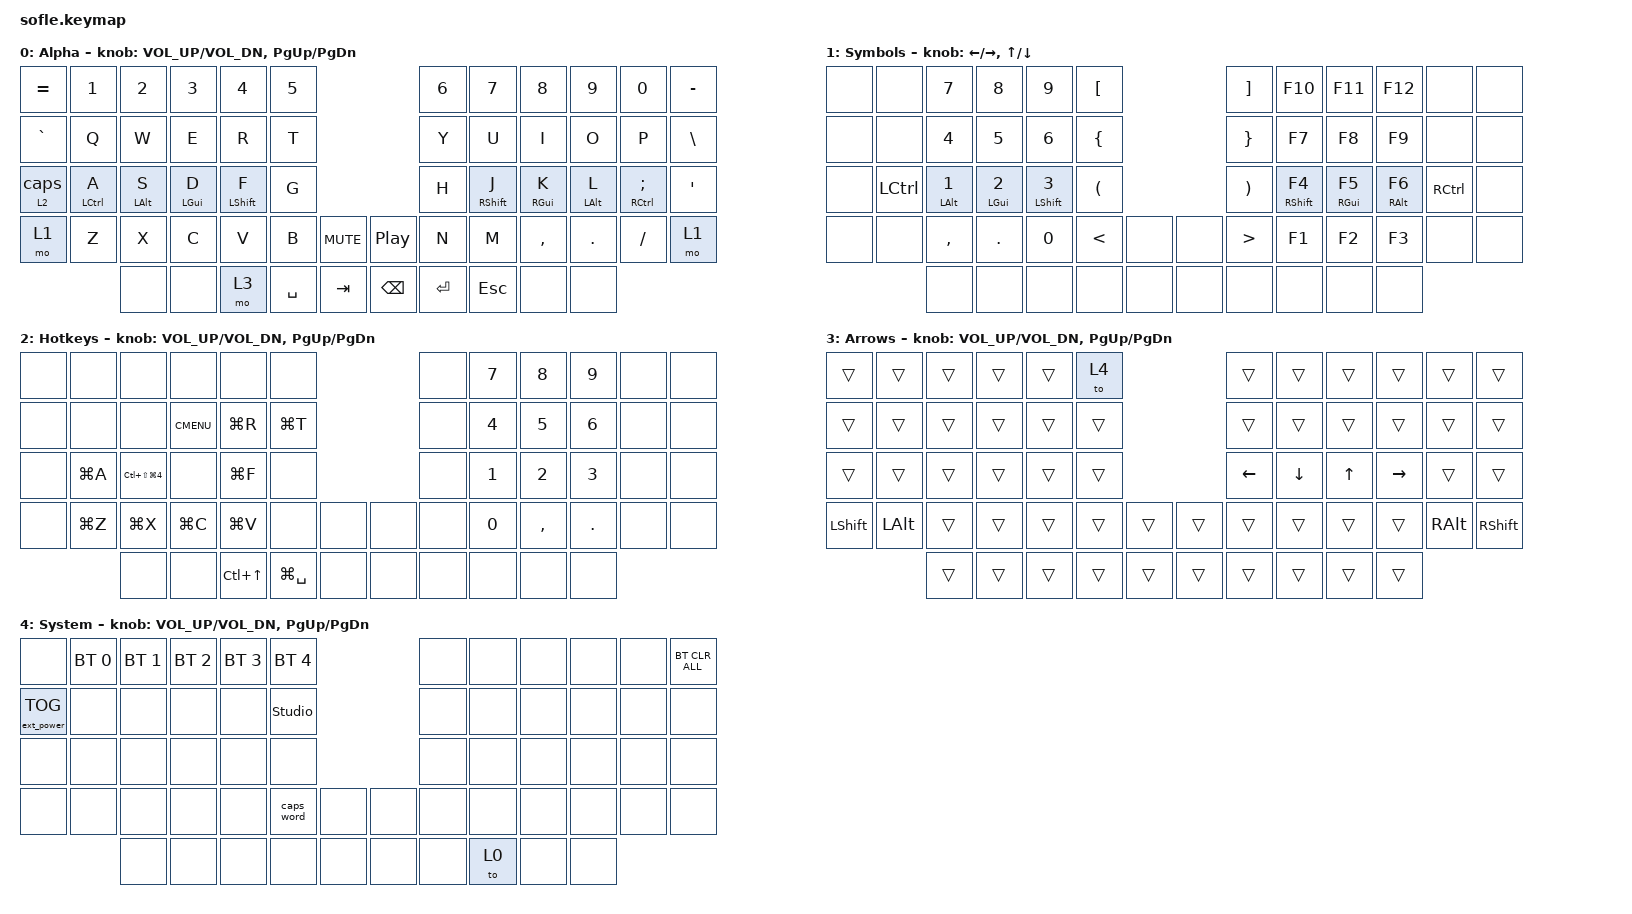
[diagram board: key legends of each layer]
/*
 * Copyright (c) 2020 The ZMK Contributors
 *
 * SPDX-License-Identifier: MIT
 */

#include <behaviors.dtsi>
#include <dt-bindings/zmk/bt.h>
#include <dt-bindings/zmk/ext_power.h>
#include <dt-bindings/zmk/keys.h>

// Encoders

&sensors { triggers-per-rotation = <30>; };

&left_encoder { steps = <60>; };

&right_encoder { steps = <60>; };

#define BASE 0
#define LOWER 1
#define RAISE 2
#define ADJUST 3

/ {
    // Activate ADJUST layer by pressing raise and lower

    conditional_layers { compatible = "zmk,conditional-layers"; };

    combos { compatible = "zmk,combos"; };

    behaviors {
        caps: caps {
            compatible = "zmk,behavior-caps-word";
            label = "CAPS";
            #binding-cells = <0>;
            continue-list = <POUND MINUS BACKSPACE UNDERSCORE>;
        };

        HRM_L: HRM_L {
            compatible = "zmk,behavior-hold-tap";
            label = "HRM_L";
            bindings = <&kp>, <&kp>;

            #binding-cells = <2>;
            tapping-term-ms = <280>;
            quick-tap-ms = <175>;
            hold-trigger-on-release;
            hold-trigger-key-positions = <52 53 54 42 6 7 8 9 10 11 18 19 20 21 22 23 30 31 32 33 34 35 43 44 45 46 47 48 49 48 55 56 57 58 59>;
            flavor = "tap-preferred";
        };

        HMR_R: HMR_R {
            compatible = "zmk,behavior-hold-tap";
            label = "HMR_R";
            bindings = <&kp>, <&kp>;

            #binding-cells = <2>;
            tapping-term-ms = <280>;
            quick-tap-ms = <175>;
            hold-trigger-on-release;
            flavor = "tap-preferred";
            hold-trigger-key-positions = <42 0 1 5 12 13 14 15 16 17 24 25 26 27 28 29 36 37 38 39 40 41 42 50 51 52 53 54 2 3 4 43 55 56 57>;
        };

        CAPS_OR_LAYER: CAPS_OR_LAYER {
            compatible = "zmk,behavior-hold-tap";
            label = "CAPS_OR_LAYER";
            bindings = <&mo>, <&caps>;

            #binding-cells = <2>;
            tapping-term-ms = <280>;
            quick-tap-ms = <175>;
        };
    };

    keymap {
        compatible = "zmk,keymap";

        alpha {
            display-name = "Alpha";

            // ------------------------------------------------------------------------------------------------------------
            // |   `   |  1  |  2  |  3   |  4   |  5   |                   |  6   |  7    |  8    |  9   |   0   |       |
            // |  ESC  |  Q  |  W  |  E   |  R   |  T   |                   |  Y   |  U    |  I    |  O   |   P   | BKSPC |
            // |  TAB  |  A  |  S  |  D   |  F   |  G   |                   |  H   |  J    |  K    |  L   |   ;   |   '   |
            // | SHIFT |  Z  |  X  |  C   |  V   |  B   |  MUTE  |  |       |  N   |  M    |  ,    |  .   |   /   | SHIFT |
            //               | GUI | ALT  | CTRL | LOWER|  ENTER |  | SPACE | RAISE| CTRL  | ALT   | GUI  |

            bindings = <
&kp EQUAL           &kp N1                 &kp N2             &kp N3             &kp N4               &kp N5                                     &kp N6     &kp N7                &kp N8              &kp N9             &kp N0                     &kp MINUS
&kp GRAVE           &kp Q                  &kp W              &kp E              &kp R                &kp T                                      &kp Y      &kp U                 &kp I               &kp O              &kp P                      &kp BACKSLASH
&CAPS_OR_LAYER 2 0  &HRM_L LEFT_CONTROL A  &HRM_L LEFT_ALT S  &HRM_L LEFT_GUI D  &HRM_L LEFT_SHIFT F  &kp G                                      &kp H      &HMR_R RIGHT_SHIFT J  &HMR_R RIGHT_GUI K  &HMR_R LEFT_ALT L  &HMR_R RIGHT_CONTROL SEMI  &kp SQT
&mo 1               &kp Z                  &kp X              &kp C              &kp V                &kp B      &kp C_MUTE    &kp C_PLAY_PAUSE  &kp N      &kp M                 &kp COMMA           &kp DOT            &kp FSLH                   &mo 1
                                           &none              &none              &mo 3                &kp SPACE  &kp TAB       &kp BACKSPACE     &kp ENTER  &kp ESCAPE            &none               &none
            >;

            sensor-bindings = <&inc_dec_kp C_VOL_UP C_VOL_DN &inc_dec_kp PG_UP PG_DN>;
        };

        symbols {
            display-name = "Symbols";

            // TODO: Some binds are waiting for shifted keycode support.
            // ------------------------------------------------------------------------------------------------------------
            // |       |  F1 |  F2 |  F3  |  F4  |  F5  |                   |  F6  |  F7   |  F8   |  F9  |  F10  |  F11  |
            // |   `   |  1  |  2  |  3   |  4   |  5   |                   |  6   |  7    |  8    |  9   |   0   |  F12  |
            // |       |  !  |  @  |  #   |  $   |  %   |                   |  ^   |  &    |  *    |  (   |   )   |   |   |
            // |       |  =  |  -  |  +   |  {   |  }   |        |  |       |  [   |  ]    |  ;    |  :   |   \   |       |
            //               |     |      |      |      |        |  |       |      |       |       |      |

            bindings = <
&none  &none             &kp N7                    &kp N8              &kp N9                &kp LEFT_BRACKET                      &kp RIGHT_BRACKET      &kp F10                &kp F11              &kp F12              &none              &none
&none  &none             &kp N4                    &kp N5              &kp N6                &kp LEFT_BRACE                        &kp RIGHT_BRACE        &kp F7                 &kp F8               &kp F9               &none              &none
&none  &kp LEFT_CONTROL  &HRM_L LEFT_ALT NUMBER_1  &HRM_L LEFT_GUI N2  &HRM_L LEFT_SHIFT N3  &kp LEFT_PARENTHESIS                  &kp RIGHT_PARENTHESIS  &HMR_R RIGHT_SHIFT F4  &HMR_R RIGHT_GUI F5  &HMR_R RIGHT_ALT F6  &kp RIGHT_CONTROL  &none
&none  &none             &kp COMMA                 &kp DOT             &kp N0                &kp LESS_THAN         &none    &none  &kp GREATER_THAN       &kp F1                 &kp F2               &kp F3               &none              &none
                         &none                     &none               &none                 &none                 &none    &none  &none                  &none                  &none                &none
            >;

            sensor-bindings =
                <&inc_dec_kp LEFT_ARROW RIGHT_ARROW>,
                <&inc_dec_kp UP_ARROW DOWN_ARROW>;
        };

        hotkeys {
            display-name = "Hotkeys";

            // ------------------------------------------------------------------------------------------------------------
            // | BTCLR | BT1  | BT2  |  BT3  |  BT4  |  BT5 |                |      |      |       |      |       |       |
            // |       | INS  | PSCR | GUI   |       |      |                | PGUP |      |   ^   |      |       |       |
            // |       | ALT  | CTRL | SHIFT |       | CAPS |                | PGDN |   <- |   v   |  ->  |  DEL  | BKSPC |
            // |       | UNDO | CUT  | COPY  | PASTE |      |      |  |      |      |      |       |      |       |       |
            //                |      |       |       |      |      |  |      |      |      |       |      |

            bindings = <
&none  &none      &none                     &none        &none             &none                          &none  &kp N7        &kp N8     &kp N9      &none  &none
&none  &none      &none                     &kp K_CMENU  &kp LG(R)         &kp LG(T)                      &none  &kp N4        &kp N5     &kp N6      &none  &none
&none  &kp LG(A)  &kp LC(LS(LG(NUMBER_4)))  &none        &kp LG(F)         &none                          &none  &kp NUMBER_1  &kp N2     &kp N3      &none  &none
&none  &kp LG(Z)  &kp LG(X)                 &kp LG(C)    &kp LG(V)         &none          &none    &none  &none  &kp N0        &kp COMMA  &kp PERIOD  &none  &none
                  &none                     &none        &kp LC(UP_ARROW)  &kp LG(SPACE)  &none    &none  &none  &none         &none      &none
            >;

            sensor-bindings = <&inc_dec_kp C_VOL_UP C_VOL_DN &inc_dec_kp PG_UP PG_DN>;
        };

        arrows {
            bindings = <
&trans          &trans        &trans  &trans  &trans  &to 4                     &trans    &trans    &trans  &trans     &trans         &trans
&trans          &trans        &trans  &trans  &trans  &trans                    &trans    &trans    &trans  &trans     &trans         &trans
&trans          &trans        &trans  &trans  &trans  &trans                    &kp LEFT  &kp DOWN  &kp UP  &kp RIGHT  &trans         &trans
&kp LEFT_SHIFT  &kp LEFT_ALT  &trans  &trans  &trans  &trans  &trans    &trans  &trans    &trans    &trans  &trans     &kp RIGHT_ALT  &kp RIGHT_SHIFT
                              &trans  &trans  &trans  &trans  &trans    &trans  &trans    &trans    &trans  &trans
            >;

            sensor-bindings =
                <&inc_dec_kp C_VOL_UP C_VOL_DN>,
                <&inc_dec_kp PG_UP PAGE_DOWN>;

            label = "Arrows";
        };

        system {
            // ----------------------------------------------------------------------------------------------------------------------------
            // | BTCLR  |  BT1    |  BT2    |   BT3   |   BT4   |   BT5   |                  |      |      |       |      |       |       |
            // | EXTPWR | RGB_HUD | RGB_HUI | RGB_SAD | RGB_SAI | RGB_EFF |                  |      |      |       |      |       |       |
            // |        | RGB_BRD | RGB_BRI |         |         |         |                  |      |      |       |      |       |       |
            // |        |         |         |         |         |         | RGB_TOG | |      |      |      |       |      |       |       |
            //                    |         |         |         |         |         | |      |      |      |       |      |

            display-name = "System";
            bindings = <
&none              &bt BT_SEL 0  &bt BT_SEL 1  &bt BT_SEL 2  &bt BT_SEL 3  &bt BT_SEL 4                    &none  &none  &none  &none  &none  &bt BT_CLR_ALL
&ext_power EP_TOG  &none         &none         &none         &none         &studio_unlock                  &none  &none  &none  &none  &none  &none
&none              &none         &none         &none         &none         &none                           &none  &none  &none  &none  &none  &none
&none              &none         &none         &none         &none         &caps_word      &none    &none  &none  &none  &none  &none  &none  &none
                                 &none         &none         &none         &none           &none    &none  &none  &to 0  &none  &none
            >;

            sensor-bindings = <&inc_dec_kp C_VOL_UP C_VOL_DN &inc_dec_kp PG_UP PG_DN>;
        };
    };
};
